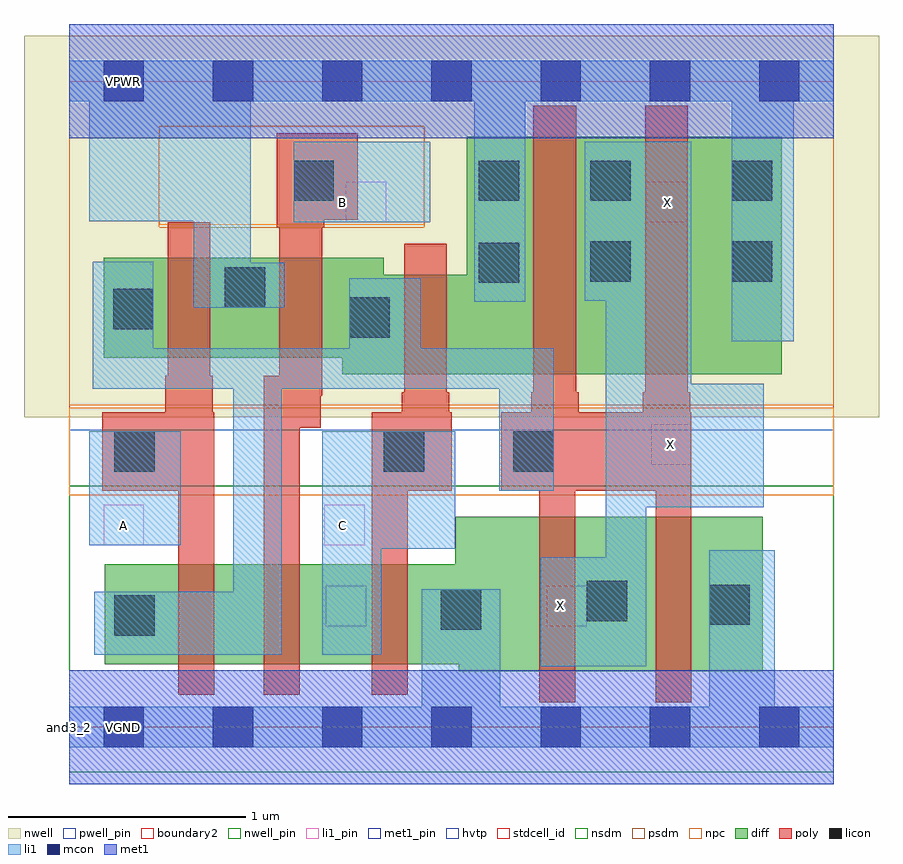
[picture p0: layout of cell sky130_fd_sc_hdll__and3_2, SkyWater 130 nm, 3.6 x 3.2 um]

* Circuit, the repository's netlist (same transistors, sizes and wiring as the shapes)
* Copyright 2020 The SkyWater PDK Authors
*
* Licensed under the Apache License, Version 2.0 (the "License");
* you may not use this file except in compliance with the License.
* You may obtain a copy of the License at
*
*     https://www.apache.org/licenses/LICENSE-2.0
*
* Unless required by applicable law or agreed to in writing, software
* distributed under the License is distributed on an "AS IS" BASIS,
* WITHOUT WARRANTIES OR CONDITIONS OF ANY KIND, either express or implied.
* See the License for the specific language governing permissions and
* limitations under the License.
*
* SPDX-License-Identifier: Apache-2.0

.SUBCKT sky130_fd_sc_hdll__and3_2 A B C VGND VNB VPB VPWR X
*.PININFO A:I B:I C:I VGND:I VNB:I VPB:I VPWR:I X:O
MMP0 y A VPWR VPB sky130_fd_pr__pfet_01v8_hvt m=1 w=0.42U l=0.18U mult=1 sa=0.265
+ sb=0.265 sd=0.28 area=0.063 perim=1.14
MMP1 y B VPWR VPB sky130_fd_pr__pfet_01v8_hvt m=1 w=0.42U l=0.18U mult=1 sa=0.265
+ sb=0.265 sd=0.28 area=0.063 perim=1.14
MMP2 y C VPWR VPB sky130_fd_pr__pfet_01v8_hvt m=1 w=0.42U l=0.18U mult=1 sa=0.265
+ sb=0.265 sd=0.28 area=0.063 perim=1.14
MMIP0 X y VPWR VPB sky130_fd_pr__pfet_01v8_hvt m=2 w=1.0U l=0.18U mult=1 sa=0.265
+ sb=0.265 sd=0.28 area=0.063 perim=1.14
MMN0 y A sndA VNB sky130_fd_pr__nfet_01v8 m=1 w=0.42U l=0.15U mult=1 sa=0.265 sb=0.265
+ sd=0.28 area=0.063 perim=1.14
MMN1 sndA B sndB VNB sky130_fd_pr__nfet_01v8 m=1 w=0.42U l=0.15U mult=1 sa=0.265
+ sb=0.265 sd=0.28 area=0.063 perim=1.14
MMN2 sndB C VGND VNB sky130_fd_pr__nfet_01v8 m=1 w=0.42U l=0.15U mult=1 sa=0.265
+ sb=0.265 sd=0.28 area=0.063 perim=1.14
MMIN0 X y VGND VNB sky130_fd_pr__nfet_01v8 m=2 w=0.65U l=0.15U mult=1 sa=0.265
+ sb=0.265 sd=0.28 area=0.063 perim=1.14
.ENDS sky130_fd_sc_hdll__and3_2

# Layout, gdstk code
import gdstk
lib = gdstk.Library(unit=1e-6, precision=1e-09)
def R(c, l, rs):  # rectangles x0, y0, x1, y1
    for r in rs: c.add(gdstk.rectangle(r[:2], r[2:], *l))
def A(c, l, x, y, w, h, nx, ny, dx, dy):  # array of equal rectangles
    R(c, l, [(x+i*dx, y+j*dy, x+i*dx+w, y+j*dy+h) for i in range(nx) for j in range(ny)])
def P(c, l, *ps):  # polygons
    for p in ps: c.add(gdstk.Polygon(p, *l))
nwell_pin = (64, 16)
nwell = (64, 20)
diff = (65, 20)
poly = (66, 20)
licon = (66, 44)
li1_pin = (67, 16)
li1 = (67, 20)
mcon = (67, 44)
met1_pin = (68, 16)
met1 = (68, 20)
hvtp = (78, 44)
stdcell_id = (81, 4)
nsdm = (93, 44)
psdm = (94, 20)
npc = (95, 20)
pwell_pin = (122, 16)
boundary2 = (236, 0)

sky130_fd_sc_hdll__and3_ = lib.new_cell('sky130_fd_sc_hdll__and3_2')
R(sky130_fd_sc_hdll__and3_, nwell_pin, [(0.145,2.635,0.315,2.805)])
R(sky130_fd_sc_hdll__and3_, nwell, [(-0.19,1.305,3.41,2.91)])
P(sky130_fd_sc_hdll__and3_, diff, [(3,2.485),(1.675,2.485),(1.675,1.905),(1.325,1.905),(1.325,1.975),(0.145,1.975),(0.145,1.555),(1.15,1.555),(1.15,1.485),(3,1.485)],
  [(2.92,0.885),(1.625,0.885),(1.625,0.685),(0.15,0.685),(0.15,0.265),(1.64,0.265),(1.64,0.235),(2.92,0.235)])
P(sky130_fd_sc_hdll__and3_, poly, [(0.61,1.325),(0.605,1.325),(0.605,1.48),(0.595,1.48),(0.595,2.125),(0.415,2.125),(0.415,1.48),(0.405,1.48),(0.405,1.325),(0.14,1.325),(0.14,0.995),(0.46,0.995),(0.46,0.135),(0.61,0.135)],
  [(1.215,2.5),(0.875,2.5),(0.875,2.105),(0.885,2.105),(0.885,1.48),(0.82,1.48),(0.82,0.135),(0.97,0.135),(0.97,1.26),(1.06,1.26),(1.06,1.395),(1.065,1.395),(1.065,2.105),(1.075,2.105),(1.075,2.135),(1.215,2.135)],
  [(1.61,1.325),(1.6,1.325),(1.6,1.41),(1.59,1.41),(1.59,2.035),(1.41,2.035),(1.41,1.41),(1.4,1.41),(1.4,1.325),(1.275,1.325),(1.275,0.135),(1.425,0.135),(1.425,0.995),(1.61,0.995)],
  [(2.62,1.325),(2.615,1.325),(2.615,1.41),(2.605,1.41),(2.605,2.615),(2.425,2.615),(2.425,1.41),(2.415,1.41),(2.415,1.325),(2.145,1.325),(2.145,1.41),(2.135,1.41),(2.135,2.615),(1.955,2.615),(1.955,1.41),(1.945,1.41),(1.945,1.325),(1.82,1.325),(1.82,0.995),(1.98,0.995),(1.98,0.105),(2.13,0.105),(2.13,0.995),(2.47,0.995),(2.47,0.105),(2.62,0.105)])
R(sky130_fd_sc_hdll__and3_, licon, [(0.19,0.385,0.36,0.555), (1.565,0.41,1.735,0.58), (2.695,0.43,2.865,0.6), (2.18,0.445,2.35,0.615), (0.19,1.075,0.36,1.245), (1.325,1.075,1.495,1.245), (1.87,1.075,2.04,1.245), (1.18,1.64,1.35,1.81), (0.185,1.675,0.355,1.845), (0.655,1.765,0.825,1.935), (1.725,1.87,1.895,2.04), (2.195,1.875,2.365,2.045), (2.79,1.875,2.96,2.045), (0.945,2.215,1.115,2.385), (1.725,2.215,1.895,2.385), (2.195,2.215,2.365,2.385), (2.79,2.215,2.96,2.385)])
R(sky130_fd_sc_hdll__and3_, li1_pin, [(1.08,0.425,1.25,0.595), (2.01,0.425,2.18,0.595), (0.145,0.765,0.315,0.935), (1.075,0.765,1.245,0.935), (2.45,1.105,2.62,1.275), (1.165,2.125,1.335,2.295), (2.43,2.125,2.6,2.295)])
R(sky130_fd_sc_hdll__and3_, li1, [(0.085,0.765,0.47,1.245), (0.945,2.125,1.52,2.465)])
P(sky130_fd_sc_hdll__and3_, li1, [(1.625,1.245),(1.065,1.245),(1.065,0.305),(1.315,0.305),(1.315,0.75),(1.625,0.75)],
  [(2.04,1.595),(1.48,1.595),(1.48,1.89),(1.18,1.89),(1.18,1.595),(0.355,1.595),(0.355,1.96),(0.1,1.96),(0.1,1.425),(0.69,1.425),(0.69,0.57),(0.105,0.57),(0.105,0.305),(0.895,0.305),(0.895,1.425),(1.81,1.425),(1.81,0.995),(2.04,0.995)],
  [(2.925,1.445),(2.62,1.445),(2.62,2.465),(2.17,2.465),(2.17,1.795),(2.26,1.795),(2.26,0.715),(1.985,0.715),(1.985,0.255),(2.43,0.255),(2.43,0.925),(2.925,0.925)],
  [(3.22,2.805),(0,2.805),(0,2.635),(0.085,2.635),(0.085,2.13),(0.525,2.13),(0.525,1.765),(0.905,1.765),(0.905,1.955),(0.765,1.955),(0.765,2.635),(1.705,2.635),(1.705,1.79),(1.92,1.79),(1.92,2.635),(2.79,2.635),(2.79,1.625),(3.05,1.625),(3.05,2.635),(3.22,2.635)],
  [(3.22,0.085),(2.97,0.085),(2.97,0.745),(2.695,0.745),(2.695,0.085),(1.815,0.085),(1.815,0.58),(1.485,0.58),(1.485,0.085),(0,0.085),(0,-0.085),(3.22,-0.085)])
A(sky130_fd_sc_hdll__and3_, mcon, 0.145, -0.085, 0.17, 0.17, 7, 2, 0.46, 2.72)
R(sky130_fd_sc_hdll__and3_, met1_pin, [(0.145,-0.085,0.315,0.085), (0.145,-0.085,0.315,0.085), (0.145,2.635,0.315,2.805), (0.145,2.635,0.315,2.805)])
R(sky130_fd_sc_hdll__and3_, met1, [(0,-0.24,3.22,0.24), (0,2.48,3.22,2.96)])
R(sky130_fd_sc_hdll__and3_, hvtp, [(0,1.25,3.22,2.72)])
R(sky130_fd_sc_hdll__and3_, stdcell_id, [(0,0,3.22,2.72)])
R(sky130_fd_sc_hdll__and3_, nsdm, [(0,-0.19,3.22,1.015)])
P(sky130_fd_sc_hdll__and3_, psdm, [(3.22,2.91),(1.495,2.91),(1.495,2.105),(0.38,2.105),(0.38,2.53),(1.495,2.53),(1.495,2.91),(0,2.91),(0,1.355),(3.22,1.355)])
R(sky130_fd_sc_hdll__and3_, npc, [(0,0.975,3.22,1.345), (0.38,2.115,1.495,2.53)])
R(sky130_fd_sc_hdll__and3_, pwell_pin, [(0.145,-0.085,0.315,0.085)])
R(sky130_fd_sc_hdll__and3_, boundary2, [(0,0,3.22,2.72)])
sky130_fd_sc_hdll__and3_.add(gdstk.Label('B', (1.15,2.21), layer=67, texttype=5))
sky130_fd_sc_hdll__and3_.add(gdstk.Label('X', (2.07,0.51), layer=67, texttype=5))
sky130_fd_sc_hdll__and3_.add(gdstk.Label('X', (2.52,2.21), layer=67, texttype=5))
sky130_fd_sc_hdll__and3_.add(gdstk.Label('A', (0.23,0.85), layer=67, texttype=5))
sky130_fd_sc_hdll__and3_.add(gdstk.Label('C', (1.15,0.85), layer=67, texttype=5))
sky130_fd_sc_hdll__and3_.add(gdstk.Label('X', (2.53,1.19), layer=67, texttype=5))
sky130_fd_sc_hdll__and3_.add(gdstk.Label('VPWR', (0.23,2.72), layer=68, texttype=5))
sky130_fd_sc_hdll__and3_.add(gdstk.Label('VGND', (0.23,0), layer=68, texttype=5))
sky130_fd_sc_hdll__and3_.add(gdstk.Label('VPWR', (0.23,2.72), layer=68, texttype=5))
sky130_fd_sc_hdll__and3_.add(gdstk.Label('VGND', (0.23,0), layer=68, texttype=5))
sky130_fd_sc_hdll__and3_.add(gdstk.Label('VPB', (0.23,2.72), layer=64, texttype=5))
sky130_fd_sc_hdll__and3_.add(gdstk.Label('VNB', (0.23,0), layer=64, texttype=59))
sky130_fd_sc_hdll__and3_.add(gdstk.Label('and3_2', (0,0), layer=83, texttype=44))

lib.write_gds('sky130_fd_sc_hdll__and3_2.gds')
